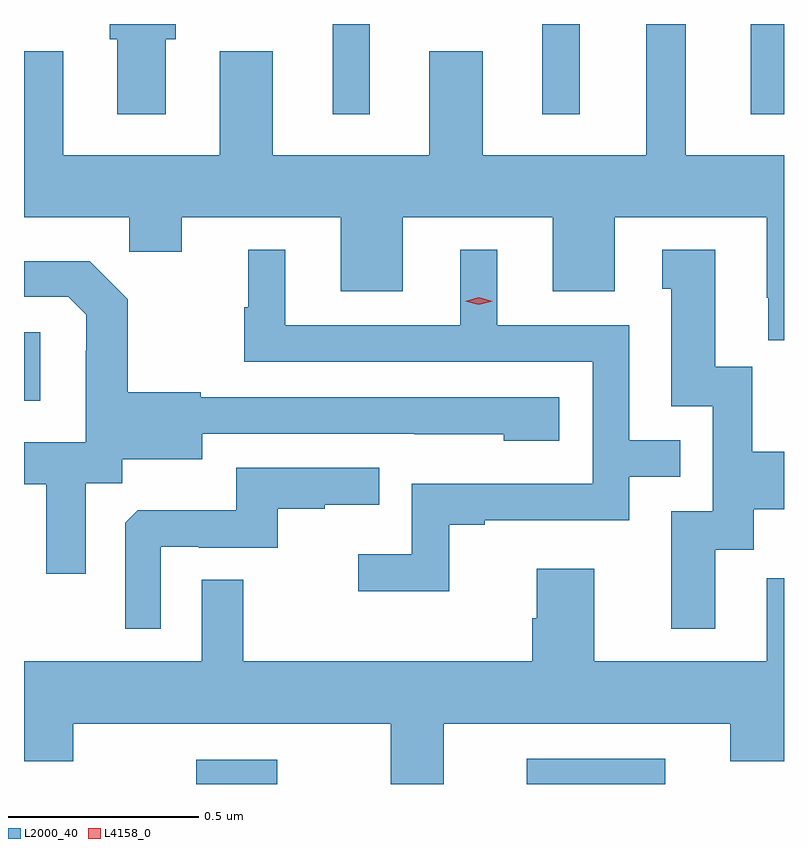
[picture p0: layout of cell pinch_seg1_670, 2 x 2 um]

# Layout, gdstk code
import gdstk
lib = gdstk.Library(unit=1e-6, precision=1e-09)
def R(c, l, rs):  # rectangles x0, y0, x1, y1
    for r in rs: c.add(gdstk.rectangle(r[:2], r[2:], *l))
def P(c, l, *ps):  # polygons
    for p in ps: c.add(gdstk.Polygon(p, *l))
L2000_40 = (2000, 40)
L4158_0 = (4158, 0)

pinch_seg1_670 = lib.new_cell('pinch_seg1_670')
R(pinch_seg1_670, L2000_40, [(813.513,576.881,813.727,576.945), (814.383,576.881,814.747,576.948), (813.06,577.89,813.103,578.07), (813.872,578.643,813.97,578.881), (814.424,578.643,814.522,578.881), (814.973,578.643,815.06,578.881)])
P(pinch_seg1_670, L2000_40, [(815.06,578.536),(814.801,578.536),(814.801,578.881),(814.697,578.881),(814.697,578.536),(814.267,578.536),(814.267,578.809),(814.127,578.809),(814.127,578.536),(813.715,578.536),(813.715,578.809),(813.575,578.809),(813.575,578.536),(813.163,578.536),(813.163,578.809),(813.06,578.809),(813.06,578.372),(813.337,578.372),(813.337,578.282),(813.475,578.282),(813.475,578.372),(813.893,578.372),(813.893,578.178),(814.057,578.178),(814.057,578.372),(814.451,578.372),(814.451,578.178),(814.615,578.178),(814.615,578.372),(815.015,578.372),(815.015,578.161),(815.018,578.161),(815.018,578.049),(815.06,578.049)],
  [(813.433,578.841),(813.459,578.841),(813.459,578.881),(813.286,578.881),(813.286,578.841),(813.305,578.841),(813.305,578.643),(813.433,578.643)],
  [(814.179,577.563),(814.273,577.563),(814.273,577.575),(814.653,577.575),(814.653,577.689),(814.787,577.689),(814.787,577.785),(814.653,577.785),(814.653,578.088),(814.306,578.088),(814.306,578.287),(814.208,578.287),(814.208,578.088),(813.748,578.088),(813.748,578.287),(813.65,578.287),(813.65,578.136),(813.639,578.136),(813.639,577.992),(814.557,577.992),(814.557,577.671),(814.08,577.671),(814.08,577.486),(813.939,577.486),(813.939,577.388),(814.179,577.388)],
  [(814.879,577.498),(814.981,577.498),(814.981,577.604),(815.06,577.604),(815.06,577.756),(814.977,577.756),(814.977,577.979),(814.879,577.979),(814.879,578.287),(814.739,578.287),(814.739,578.184),(814.763,578.184),(814.763,577.875),(814.872,577.875),(814.872,577.599),(814.763,577.599),(814.763,577.29),(814.879,577.29)],
  [(813.223,577.672),(813.318,577.672),(813.318,577.736),(813.529,577.736),(813.529,577.803),(814.087,577.803),(814.087,577.802),(814.323,577.802),(814.323,577.784),(814.468,577.784),(814.468,577.899),(813.525,577.899),(813.525,577.912),(813.333,577.912),(813.333,578.157),(813.233,578.257),(813.06,578.257),(813.06,578.163),(813.177,578.163),(813.224,578.116),(813.224,578.021),(813.222,578.021),(813.222,577.78),(813.06,577.78),(813.06,577.67),(813.119,577.67),(813.119,577.434),(813.223,577.434)],
  [(813.42,577.506),(813.52,577.506),(813.52,577.503),(813.728,577.503),(813.728,577.605),(813.851,577.605),(813.851,577.616),(813.995,577.616),(813.995,577.713),(813.618,577.713),(813.618,577.601),(813.359,577.601),(813.327,577.569),(813.327,577.289),(813.42,577.289)],
  [(814.165,577.04),(814.919,577.04),(814.919,576.941),(815.06,576.941),(815.06,577.423),(815.015,577.423),(815.015,577.204),(814.561,577.204),(814.561,577.447),(814.409,577.447),(814.409,577.317),(814.397,577.317),(814.397,577.204),(813.637,577.204),(813.637,577.418),(813.528,577.418),(813.528,577.204),(813.06,577.204),(813.06,576.941),(813.189,576.941),(813.189,577.04),(814.025,577.04),(814.025,576.881),(814.165,576.881)])
P(pinch_seg1_670, L4158_0, [(814.257,578.142),(814.221,578.151),(814.221,578.152),(814.221,578.152),(814.257,578.162),(814.293,578.152),(814.293,578.152),(814.293,578.151)])

lib.write_gds('pinch_seg1_670.gds')
